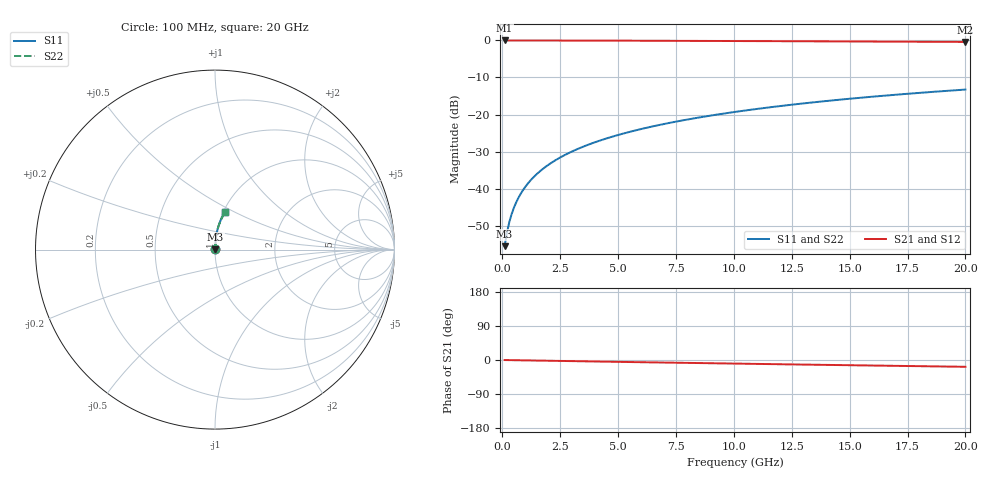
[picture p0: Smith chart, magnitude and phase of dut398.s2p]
! Touchstone file exported from HFSS 2024.1.0
!  File:  C:/UserFiles/LocalFiles/RDL_TSV_Batchsim/temp_RDL_bottom_398_1779614671.aedt
!  Generated:  05:27:09 PM May 24, 2026
!  Design:  RDL_bottom
!  Project:  temp_RDL_bottom_398_1779614671
!  Setup:  Setup1
!  Solution:  Sweep
! Variables:
!  dtsv = 10.80580581um
!  hbump = 3um
!  htsv = 64.71um
!  ldown = 211.28um
!  lrdl = 100um
!  p = 40
!  p1 = 47.64um
!  rhole = 1um
!  t = 450um
!  tdown = 4.3um
!  trdl = 3.915915916um
!  wdown = 15.44um
!  wrdl = 20um
# GHz S MA R 50.000000
! Terminal data exported
! Port[1] = RDL1_T1
! Port[2] = RDL1_T2
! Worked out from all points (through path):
!   200 points, 100 MHz to 20 GHz, reference 50 ohm
!   highest |S21| = -0.01 dB at 100 MHz (marker M1); lowest = -0.4 dB at 20 GHz (marker M2)
!   group delay of S21, straight-line fit = 2.48 ps
!   lowest |S11| = -55.5 dB at 100 MHz (marker M3), VSWR 1.00, Z = 50.1 + j0.111 ohm
!   |S11| at or under -10 dB: start of sweep to end of sweep
!   |S22| runs from -55.5 to -13.3 dB; largest |S21 - S12| = 2e-15
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0.1  0.001682 41.1  0.9987 -0.1  0.9987 -0.1  0.001682 41.1
! Gamma 0 0 0 0
! Port Impedance 50 0 50 0
0.2  0.00255 59.2  0.9987 -0.2  0.9987 -0.2  0.00255 59.2
0.3  0.003522 67.5  0.9986 -0.3  0.9986 -0.3  0.003522 67.5
0.4  0.004523 72.2  0.9986 -0.4  0.9986 -0.4  0.004523 72.2
0.5  0.005534 75.2  0.9985 -0.5  0.9985 -0.5  0.005534 75.2
0.6  0.006554 77.3  0.9985 -0.6  0.9985 -0.6  0.006554 77.3
0.8  0.008608 80.1  0.9984 -0.8  0.9984 -0.8  0.008608 80.1
1.1  0.01172 82.4  0.9982 -1.1  0.9982 -1.1  0.01172 82.4
1.5  0.01589 84.0  0.9979 -1.5  0.9979 -1.5  0.01589 84.0
1.8  0.01903 84.8  0.9977 -1.8  0.9977 -1.8  0.01903 84.8
2.1  0.02218 85.2  0.9974 -2.1  0.9974 -2.1  0.02218 85.2
2.7  0.02851 85.8  0.9967 -2.7  0.9967 -2.7  0.02851 85.8
3.5  0.037 86.0  0.9955 -3.5  0.9955 -3.5  0.037 86.0
4.2  0.04447 86.1  0.9944 -4.1  0.9944 -4.1  0.04447 86.1
5  0.05307 85.9  0.9929 -4.9  0.9929 -4.9  0.05307 85.9
5.9  0.06283 85.6  0.991 -5.8  0.991 -5.8  0.06282 85.6
6.8  0.07266 85.2  0.9891 -6.6  0.9891 -6.6  0.07266 85.2
8.3  0.08919 84.4  0.9856 -8.0  0.9856 -8.0  0.08919 84.4
10.1  0.1092 83.1  0.9812 -9.6  0.9812 -9.6  0.1092 83.1
13.4  0.1459 80.5  0.9728 -12.4  0.9728 -12.4  0.1459 80.5
16.7  0.1821 77.7  0.9638 -15.2  0.9638 -15.2  0.1821 77.7
20  0.2174 74.8  0.9543 -18.0  0.9543 -18.0  0.2174 74.8
